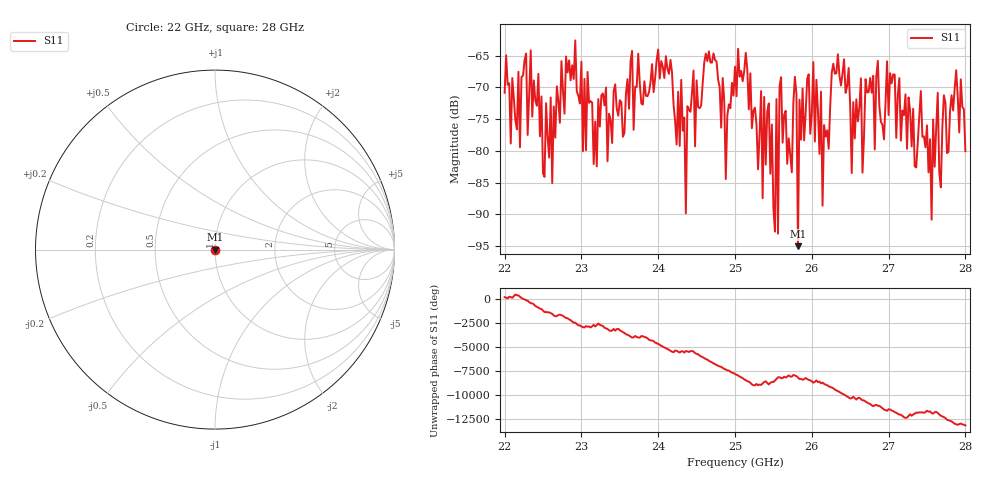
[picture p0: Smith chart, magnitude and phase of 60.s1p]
#  HZ  S  RI  R  50.00
! Rohde & Schwarz ZVA40 4Ports - Version 3.90 - 1145.1110k42 SN: 100403
! Date: 2023-10-04 07:49:58
! Measurement: S12
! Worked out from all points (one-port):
!   301 points, 22 GHz to 28 GHz, reference 50 ohm
!   lowest |S11| = -95.0 dB at 25.82 GHz (marker M1), VSWR 1.00, Z = 50 + j0.0016 ohm
!   |S11| at or under -10 dB: start of sweep to end of sweep
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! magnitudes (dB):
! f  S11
! 22 GHz  -70.9
! 22.08 GHz  -78.8
! 22.18 GHz  -67.5
! 22.2 GHz  -79.4
! 22.28 GHz  -64.7
! 22.3 GHz  -77.5
! 22.34 GHz  -64.2
! 22.62 GHz  -85.1
! 22.76 GHz  -70.6
! 23.5 GHz  -72.0
! 24.26 GHz  -70.7
! 24.36 GHz  -89.8
! 24.46 GHz  -67.3
! 24.48 GHz  -79.3
! 24.72 GHz  -64.6
! 24.88 GHz  -84.4
! 25 GHz  -66.7
! 25.3 GHz  -82.9
! 25.76 GHz  -72.4
! 25.82 GHz  -95.0
! 26.02 GHz  -66.0
! 26.1 GHz  -80.5
! 26.34 GHz  -64.8
! 26.5 GHz  -72.9
! 27.26 GHz  -71.6
! 27.78 GHz  -80.2
! 27.88 GHz  -67.3
! 28 GHz  -80.1
